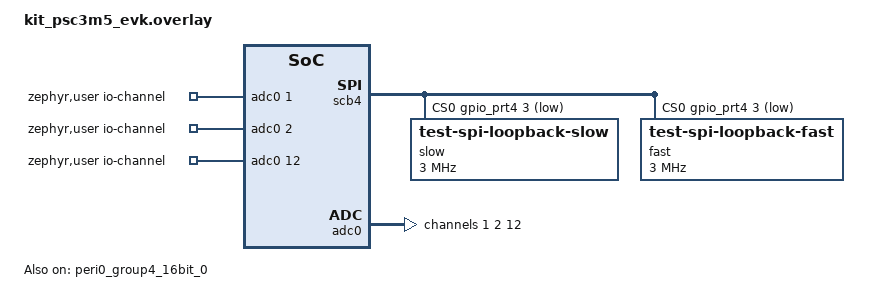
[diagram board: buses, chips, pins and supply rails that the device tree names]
/*
 * Copyright (c) 2025 Infineon Technologies AG,
 * or an affiliate of Infineon Technologies AG.
 *
 * SPDX-License-Identifier: Apache-2.0
 */

tst_dma0: &dma0 {
	status = "okay";
};

spi1: &scb4 {
	#address-cells = <1>;
	#size-cells = <0>;
	compatible = "infineon,spi";
	status = "okay";
	pinctrl-0 = <&p4_0_scb4_spi_m_mosi &p4_1_scb4_spi_m_miso &p4_2_scb4_spi_m_clk>;
	pinctrl-names = "default";
	cs-gpios = <&gpio_prt4 3 GPIO_ACTIVE_LOW>;
	clocks = <&peri0_group4_16bit_0>;
	slow@0 {
		compatible = "test-spi-loopback-slow";
		reg = <0>;
		spi-max-frequency = <3000000>;
	};
	fast@0 {
		compatible = "test-spi-loopback-fast";
		reg = <0>;
		spi-max-frequency = <3000000>;
	};
};

&gpio_prt4 {
	status = "okay";
};

&p4_0_scb4_spi_m_mosi {
	drive-strength = "full";
	drive-push-pull;
};

&p4_1_scb4_spi_m_miso {
	drive-strength = "full";
	input-enable;
};

&p4_2_scb4_spi_m_clk {
	drive-strength = "full";
	drive-push-pull;
};

&peri0_group4_16bit_0 {
	status = "okay";
};

#include <zephyr/dt-bindings/adc/adc.h>

/ {
	zephyr,user {
		io-channels = <&adc0 1>, <&adc0 2>, <&adc0 12>;
	};
};

&adc0 {
	status = "okay";
	#address-cells = <1>;
	#size-cells = <0>;
	channel@1 {
		reg = <1>;
		zephyr,acquisition-time = <ADC_ACQ_TIME_DEFAULT>;
		zephyr,gain = "ADC_GAIN_1";
		zephyr,reference = "ADC_REF_EXTERNAL0";
		zephyr,resolution = <12>;
	};
	channel@2 {
		reg = <2>;
		zephyr,acquisition-time = <ADC_ACQ_TIME_DEFAULT>;
		zephyr,gain = "ADC_GAIN_1";
		zephyr,reference = "ADC_REF_EXTERNAL0";
		zephyr,resolution = <12>;
	};
	channel@c {
		reg = <12>;
		zephyr,acquisition-time = <ADC_ACQ_TIME_DEFAULT>;
		zephyr,gain = "ADC_GAIN_1";
		zephyr,reference = "ADC_REF_EXTERNAL0";
		zephyr,resolution = <12>;
	};
};
